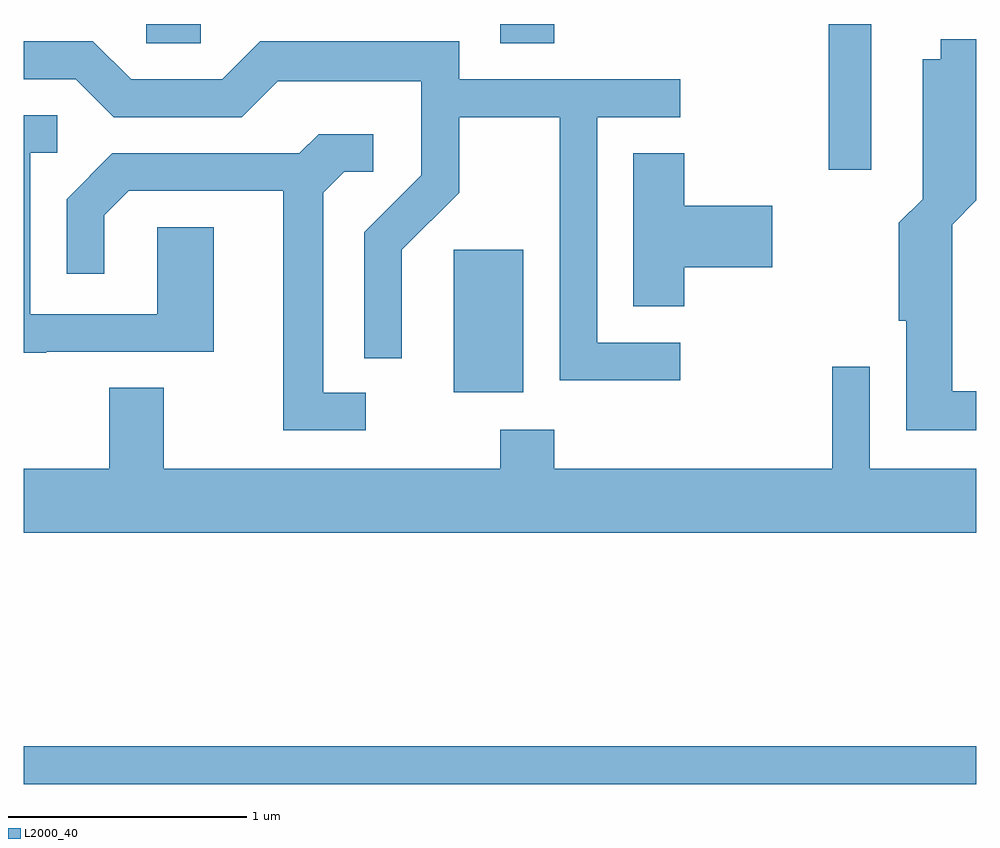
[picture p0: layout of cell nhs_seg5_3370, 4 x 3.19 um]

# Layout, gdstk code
import gdstk
lib = gdstk.Library(unit=1e-6, precision=1e-09)
def R(c, l, rs):  # rectangles x0, y0, x1, y1
    for r in rs: c.add(gdstk.rectangle(r[:2], r[2:], *l))
def P(c, l, *ps):  # polygons
    for p in ps: c.add(gdstk.Polygon(p, *l))
L2000_40 = (2000, 40)

nhs_seg5_3370 = lib.new_cell('nhs_seg5_3370')
R(nhs_seg5_3370, L2000_40, [(285.611,1426.881,289.611,1427.039), (287.416,1428.526,287.709,1429.124), (288.991,1429.461,289.169,1430.072), (286.126,1429.991,286.354,1430.072), (287.611,1429.991,287.839,1430.072)])
P(nhs_seg5_3370, L2000_40, [(289.611,1428.529),(289.509,1428.529),(289.509,1429.229),(289.611,1429.331),(289.611,1430.008),(289.461,1430.008),(289.461,1429.924),(289.386,1429.924),(289.386,1429.337),(289.286,1429.237),(289.286,1428.826),(289.316,1428.826),(289.316,1428.366),(289.611,1428.366)],
  [(288.368,1428.734),(288.019,1428.734),(288.019,1429.681),(288.368,1429.681),(288.368,1429.839),(287.439,1429.839),(287.439,1429.999),(286.604,1429.999),(286.444,1429.839),(286.062,1429.839),(285.902,1429.999),(285.611,1429.999),(285.611,1429.841),(285.829,1429.841),(285.989,1429.681),(286.527,1429.681),(286.677,1429.831),(287.281,1429.831),(287.281,1429.437),(287.041,1429.197),(287.041,1428.668),(287.199,1428.668),(287.199,1429.124),(287.439,1429.364),(287.439,1429.681),(287.861,1429.681),(287.861,1428.576),(288.368,1428.576)],
  [(285.705,1428.696),(286.409,1428.696),(286.409,1429.219),(286.171,1429.219),(286.171,1428.854),(285.639,1428.854),(285.639,1429.531),(285.753,1429.531),(285.753,1429.689),(285.611,1429.689),(285.611,1428.691),(285.705,1428.691)],
  [(287.048,1428.524),(286.869,1428.524),(286.869,1429.364),(286.957,1429.451),(287.078,1429.451),(287.078,1429.609),(286.849,1429.609),(286.769,1429.529),(285.984,1429.529),(285.791,1429.337),(285.791,1429.023),(285.949,1429.023),(285.949,1429.269),(286.052,1429.371),(286.701,1429.371),(286.701,1428.366),(287.048,1428.366)],
  [(288.384,1429.051),(288.754,1429.051),(288.754,1429.309),(288.384,1429.309),(288.384,1429.529),(288.171,1429.529),(288.171,1428.886),(288.384,1428.886)],
  [(289.611,1428.204),(289.164,1428.204),(289.164,1428.633),(289.006,1428.633),(289.006,1428.204),(287.839,1428.204),(287.839,1428.369),(287.611,1428.369),(287.611,1428.204),(286.199,1428.204),(286.199,1428.544),(285.971,1428.544),(285.971,1428.204),(285.611,1428.204),(285.611,1427.936),(289.611,1427.936)])

lib.write_gds('nhs_seg5_3370.gds')
